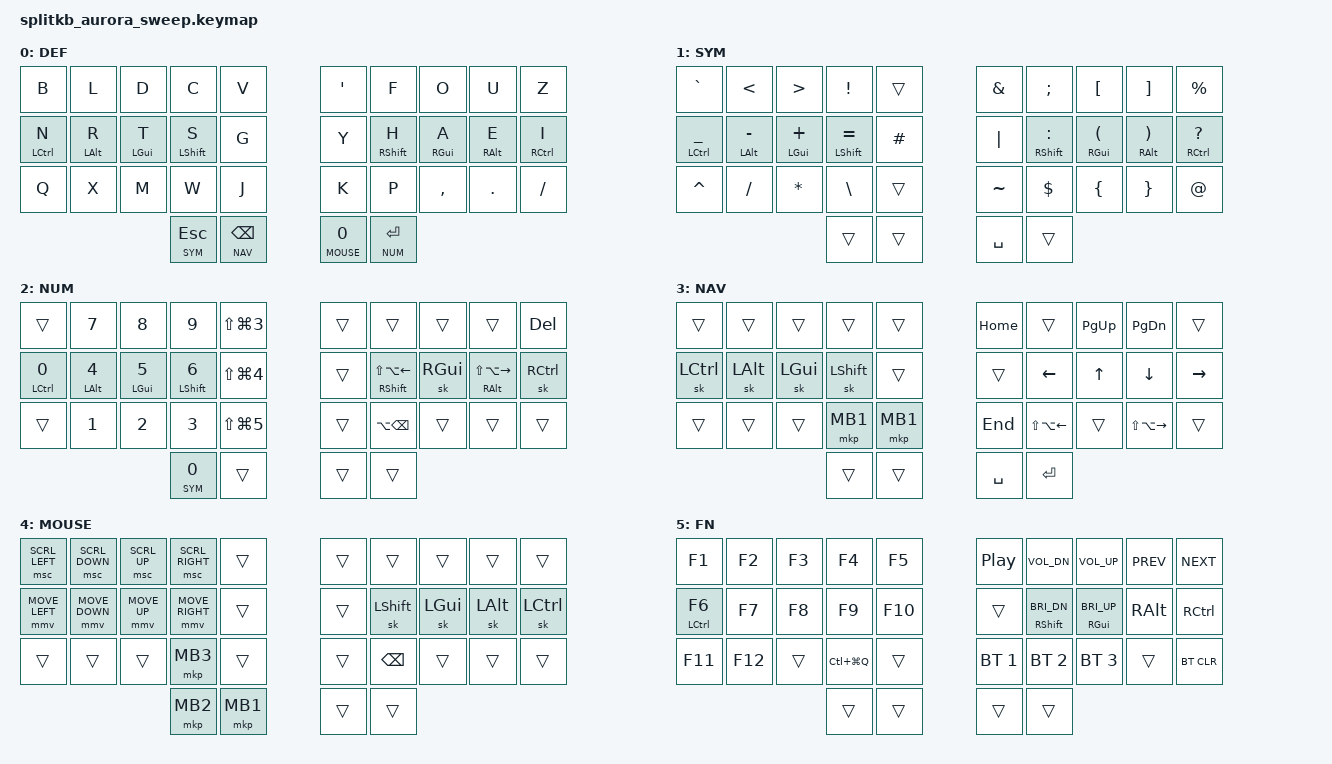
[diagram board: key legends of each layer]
#include <behaviors.dtsi>
#include <dt-bindings/zmk/keys.h>
#include <dt-bindings/zmk/bt.h>

#define DEF 0
#define SYM 1
#define NUM 2
#define NAV 3
#define MOUSE 4
#define FN 5

#define XXX &none
#define ___ &trans

/* Homerow mods */
#define KEYS_L LT0 LT1 LT2 LT3 LT4 LM0 LM1 LM2 LM3 LM4 LB0 LB1 LB2 LB3 LB4  // left hand
#define KEYS_R RT0 RT1 RT2 RT3 RT4 RM0 RM1 RM2 RM3 RM4 RB0 RB1 RB2 RB3 RB4  // right hand
#define THUMBS LH1 LH0 RH0 RH1

/* Global settings */

#define QUICK_TAP_MS 175

#define ZMK_MOUSE_DEFAULT_MOVE_VAL 1500  // 600
#define ZMK_MOUSE_DEFAULT_SCRL_VAL 20    // 10

#include <dt-bindings/zmk/mouse.h>
#include <behaviors/mouse_keys.dtsi>

&mmv {
  acceleration-exponent = <1>;      // 1
  time-to-max-speed-ms = <500>;    // 40
  delay-ms = <0>;                   // 0
};

&msc {
  acceleration-exponent = <1>;      // 0
  time-to-max-speed-ms = <40>;      // 500
  delay-ms = <0>;                   // 10
};

#define U_MS_U &mmv MOVE_UP
#define U_MS_D &mmv MOVE_DOWN
#define U_MS_L &mmv MOVE_LEFT
#define U_MS_R &mmv MOVE_RIGHT
#define U_WH_U &msc SCRL_UP
#define U_WH_D &msc SCRL_DOWN
#define U_WH_L &msc SCRL_LEFT
#define U_WH_R &msc SCRL_RIGHT

/*                KEY POSITIONS

  ╭─────────────────────╮ ╭─────────────────────╮
  │ LT4 LT3 LT2 LT1 LT0 │ │ RT0 RT1 RT2 RT3 RT4 │
  │ LM4 LM3 LM2 LM1 LM0 │ │ RM0 RM1 RM2 RM3 RM4 │
  │ LB4 LB3 LB2 LB1 LB0 │ │ RB0 RB1 RB2 RB3 RB4 │
  ╰───────────╮ LH1 LH0 │ │ RH0 RH1 ╭───────────╯
              ╰─────────╯ ╰─────────╯ */

#define COMBO_TERM_FAST 18
#define COMBO_TERM_SLOW 30

#define COMBO_IDLE_FAST 150
#define COMBO_IDLE_SLOW 50

// make homerow combos tap-only (so HRMs can be chorded instantaneously)
#define HRC_TAB    &hml         LA(LGUI) TAB
#define HRC_REPEAT &hml_repeat  LS(LGUI) 0

/* Horizontal combos - left hand */
// ZMK_COMBO(esc,   &kp ESC,       LT3 LT2, DEF NAV NUM ENGR, COMBO_TERM_FAST, COMBO_IDLE_FAST)
ZMK_COMBO(capsw, &caps_word,LT3 LT2 LT1, DEF NAV NUM, COMBO_TERM_FAST, COMBO_IDLE_FAST)

ZMK_COMBO(tab,   HRC_TAB,       LM3 LM2, DEF NAV NUM, COMBO_TERM_FAST, COMBO_IDLE_FAST)
// ZMK_COMBO(repeat,HRC_REPEAT,    LM2 LM1, DEF NAV NUM, COMBO_TERM_FAST, COMBO_IDLE_FAST)
ZMK_COMBO(click, &mkp MB1,      LM2 LM1, DEF NAV NUM, COMBO_TERM_FAST, COMBO_IDLE_FAST)
ZMK_COMBO(meh_left,&sk LS(LA(LG(LCTRL))),LM3 LM2 LM1, DEF NAV NUM, COMBO_TERM_FAST, COMBO_IDLE_FAST)

ZMK_COMBO(cut,   &kp LG(X),     LB3 LB1, DEF NAV NUM, COMBO_TERM_FAST, COMBO_IDLE_FAST)
ZMK_COMBO(copy,  &kp LG(C),     LB3 LB2, DEF NAV NUM, COMBO_TERM_FAST, COMBO_IDLE_FAST)
ZMK_COMBO(paste, &kp LG(V),     LB2 LB1, DEF NAV NUM, COMBO_TERM_FAST, COMBO_IDLE_FAST)

// ZMK_COMBO(del,   &kp DEL,       RT1 RT2, DEF NAV NUM ENGR, COMBO_TERM_FAST, COMBO_IDLE_FAST)
// MK_COMBO(bspc,  &kp BSPC,      RT2 RT3, DEF NAV NUM ENGR, COMBO_TERM_FAST, COMBO_IDLE_FAST)
// ZMK_COMBO(enter,&kp ENTER,      RM2 RM3, DEF         ENGR, COMBO_TERM_FAST, COMBO_IDLE_FAST)

/* Horizontal combos - right hand */
ZMK_COMBO(o_circ ,&o_circ,      RT1 RT2,            DEF, COMBO_TERM_FAST, COMBO_IDLE_FAST)
ZMK_COMBO(u_circ ,&u_circ,  RT2 RT3 RT4,            DEF, COMBO_TERM_FAST, COMBO_IDLE_FAST)
ZMK_COMBO(u_grave,&u_grave,     RT3 RT4,            DEF, COMBO_TERM_FAST, COMBO_IDLE_FAST)
ZMK_COMBO(e_grave,&e_grave,     RT2 RT3,            DEF, COMBO_TERM_FAST, COMBO_IDLE_FAST)
ZMK_COMBO(a_grave,&a_grave,     RM1 RM2,            DEF, COMBO_TERM_FAST, COMBO_IDLE_FAST)
ZMK_COMBO(e_aigu, &e_aigu,      RM2 RM3,            DEF, COMBO_TERM_FAST, COMBO_IDLE_FAST)
ZMK_COMBO(e_cir,  &e_circ,  RM1 RM2 RM3,            DEF, COMBO_TERM_FAST, COMBO_IDLE_FAST)
ZMK_COMBO(e_circ, &e_circ,  RT1 RT2 RT3,            DEF, COMBO_TERM_FAST, COMBO_IDLE_FAST)
ZMK_COMBO(i_circ, &i_circ,  RM2 RM3 RM4,            DEF, COMBO_TERM_FAST, COMBO_IDLE_FAST)

/* Vertical combos - right hand */
/// ZMK_COMBO(e_circ, &e_circ,      RT3 RM3,            DEF, COMBO_TERM_SLOW, COMBO_IDLE_FAST)
/// ZMK_COMBO(e_aigu, &e_aigu,      RT2 RM2,            DEF, COMBO_TERM_SLOW, COMBO_IDLE_FAST)
/// ZMK_COMBO(u_grave,&u_grave,     RT1 RM1,            DEF, COMBO_TERM_SLOW, COMBO_IDLE_FAST)
///
/// ZMK_COMBO(e_grave,&e_grave,     RM2 RB2,            DEF, COMBO_TERM_SLOW, COMBO_IDLE_FAST)
/// ZMK_COMBO(a_grave,&a_grave,     RM1 RB1,            DEF, COMBO_TERM_SLOW, COMBO_IDLE_FAST)

/* Vertical combos - left hand */
/// ZMK_COMBO(e_circ, &e_circ,      LT3 LM3,            DEF, COMBO_TERM_SLOW, COMBO_IDLE_FAST)
/// ZMK_COMBO(e_aigu, &e_aigu,      LT2 LM2,            DEF, COMBO_TERM_SLOW, COMBO_IDLE_FAST)
/// ZMK_COMBO(u_grave,&u_grave,     LT1 LM1,            DEF, COMBO_TERM_SLOW, COMBO_IDLE_FAST)
///
/// ZMK_COMBO(e_grave,&e_grave,     LM2 LB2,            DEF, COMBO_TERM_SLOW, COMBO_IDLE_FAST)
/// ZMK_COMBO(a_grave,&a_grave,     LM1 LB1,            DEL, COMBO_TERM_SLOW, COMBO_IDLE_FAST)

/* Horizontal combos - both hand */

ZMK_MACRO(e_aigu,
    wait-ms = <0>;
    tap-ms = <5>;
    bindings = <&kp RA(E) &kp E>;
)

ZMK_MACRO(e_grave,
    wait-ms = <0>;
    tap-ms = <5>;
    bindings = <&kp RA(GRAVE) &kp E>;
)

ZMK_MACRO(e_circ,
    wait-ms = <0>;
    tap-ms = <5>;
    bindings = <&kp RA(I) &kp E>;
)

ZMK_MACRO(a_grave,
    wait-ms = <0>;
    tap-ms = <5>;
    bindings = <&kp RA(GRAVE) &kp A>;
)

ZMK_MACRO(u_grave,
    wait-ms = <0>;
    tap-ms = <5>;
    bindings = <&kp RA(GRAVE) &kp U>;
)

ZMK_MACRO(o_circ,
    wait-ms = <0>;
    tap-ms = <5>;
    bindings = <&kp RA(I) &kp O>;
)

ZMK_MACRO(i_circ,
    wait-ms = <0>;
    tap-ms = <5>;
    bindings = <&kp RA(I) &kp I>;
)

ZMK_MACRO(u_circ,
    wait-ms = <0>;
    tap-ms = <5>;
    bindings = <&kp RA(I) &kp U>;
)


&sk {  // sticky-key config
    release-after-ms = <2000>;  // release after 0.6s
    quick-release;             // no double capitalization when rolling keys
};

&sl {  // sticky-layer config
    ignore-modifiers;          // allow chording sticky mods & layers
};

&lt {  // layer-tap config
    flavor = "balanced";
    tapping-term-ms = <200>;
    quick-tap-ms = <QUICK_TAP_MS>;
};

#define MAKE_HRM(NAME, HOLD, TAP, TRIGGER_POS) \
    ZMK_HOLD_TAP(NAME, \
        flavor = "balanced"; \
        tapping-term-ms = <280>; \
        quick-tap-ms = <QUICK_TAP_MS>; \
        require-prior-idle-ms = <130>; \
        bindings = <HOLD>, <TAP>; \
        hold-trigger-key-positions = <TRIGGER_POS>; \
        hold-trigger-on-release; \
    )
MAKE_HRM(hml, &kp, &kp, KEYS_R THUMBS)  // left-hand HRMs
MAKE_HRM(hmr, &kp, &kp, KEYS_L THUMBS)  // right-hand HRMs

MAKE_HRM(hml_repeat, &kp, &key_repeat, KEYS_R THUMBS)  // used for HRM-combo

#define MAKE_SHIFT_HRM(NAME, HOLD, TAP, TRIGGER_POS) \
    ZMK_HOLD_TAP(NAME, \
        flavor = "balanced"; \
        tapping-term-ms = <200>; \
        quick-tap-ms = <QUICK_TAP_MS>; \
        require-prior-idle-ms = <130>; \
        bindings = <HOLD>, <TAP>; \
        hold-trigger-key-positions = <TRIGGER_POS>; \
    )

MAKE_SHIFT_HRM(hmls, &kp, &kp, KEYS_R THUMBS)  // left-hand HRMs
MAKE_SHIFT_HRM(hmrs, &kp, &kp, KEYS_L THUMBS)  // right-hand HRMs

// reuse basic mod-morph scheme
#define SIMPLE_MORPH(NAME, MOD, BINDING1, BINDING2) \
    ZMK_MOD_MORPH(NAME, \
        mods = <(MOD_L ## MOD|MOD_R ## MOD)>; \
        bindings = <BINDING1>, <BINDING2>; \
    )

// tap: space | shift + tap: dot -> space -> sticky shift | hold: activate layer
ZMK_HOLD_TAP(lt_spc,
    flavor = "balanced";
    tapping-term-ms = <200>;
    quick-tap-ms = <QUICK_TAP_MS>;
    bindings = <&mo>, <&spc_morph>;
)
SIMPLE_MORPH(spc_morph, SFT, &kp SPACE, &dot_spc)
ZMK_MACRO(dot_spc,
    wait-ms = <0>;
    tap-ms = <5>;
    bindings = <&kp KP_DOT &kp SPACE &sk LSHFT>;
)

// tap: backspace | shift + tap: delete | hold: activate layer
ZMK_HOLD_TAP(lt_bspc,
    flavor = "balanced";
    tapping-term-ms = <200>;
    quick-tap-ms = <QUICK_TAP_MS>;
    bindings = <&mo>, <&bspc_morph>;
)
SIMPLE_MORPH(bspc_morph, CTL, &kp BSPC, &kp DEL)

/ {
    behaviors {
      hm: homerow_mods {
          compatible = "zmk,behavior-hold-tap";
          #binding-cells = <2>;
          flavor = "balanced";
          tapping-term-ms = <280>;
          quick-tap-ms = <175>;
          require-prior-idle-ms = <130>;
          bindings = <&kp>, <&kp>;
        };
    };

      conditional_layers {
        compatible = "zmk,conditional-layers";

        FN {
            if-layers = <SYM NUM>;
            then-layer = <FN>;
        };
    };

        keymap {
                compatible = "zmk,keymap";

        DEF {
          bindings = <
//      ╭─────────────┬─────────────┬─────────────┬─────────────┬─────────────╮ ╭─────────────┬─────────────┬─────────────┬─────────────┬─────────────╮
          &kp B         &kp L         &kp D         &kp C         &kp V           &kp SQT       &kp F         &kp O         &kp U         &kp Z 
//      ├─────────────┼─────────────┼─────────────┼─────────────┼─────────────┤ ├─────────────┼─────────────┼─────────────┼─────────────┼─────────────┤
          &hml LCTRL N  &hml LALT R   &hml LGUI T   &hmls LSHFT S &kp G           &kp Y         &hmrs RSHFT H &hmr RGUI A   &hmr RALT E   &hmr RCTRL I
//      ├─────────────┼─────────────┼─────────────┼─────────────┼─────────────┤ ├─────────────┼─────────────┼─────────────┼─────────────┼─────────────┤
          &kp Q         &kp X         &kp M         &kp W         &kp J           &kp K         &kp P         &kp COMMA     &kp DOT       &kp SLASH
//      ╰─────────────┼─────────────┴─────────────┼─────────────┼─────────────┤ ├─────────────┼─────────────┼─────────────┴───────────────────────────╯
                                                    &lt SYM ESC   &lt NAV BSPC    &lt_spc MOUSE 0 &lt NUM ENTER 
//                                                ╰─────────────┴─────────────╯ ╰─────────────┴─────────────╯
          >;
        };

        SYM {
          bindings = <
//      ╭─────────────┬─────────────┬─────────────┬─────────────┬─────────────╮ ╭─────────────┬─────────────┬─────────────┬─────────────┬─────────────╮
          &kp GRAVE     &kp LT        &kp GT        &kp EXCL      ___             &kp AMPS      &kp SEMI      &kp LBKT      &kp RBKT      &kp PERCENT
//      ├─────────────┼─────────────┼─────────────┼─────────────┼─────────────┤ ├─────────────┼─────────────┼─────────────┼─────────────┼─────────────┤
          &hm LCTRL UNDER &hm LALT MINUS &hm LGUI PLUS &hm LSHFT EQUAL &kp HASH   &kp PIPE      &hm RSHFT COLON &hm RGUI LPAR &hm RALT RPAR &hm RCTRL QMARK
//      ├─────────────┼─────────────┼─────────────┼─────────────┼─────────────┤ ├─────────────┼─────────────┼─────────────┼─────────────┼─────────────┤
          &kp CARET     &kp SLASH     &kp ASTRK     &kp BSLH      ___             &kp TILDE     &kp DOLLAR    &kp LBRC      &kp RBRC      &kp AT
//      ╰─────────────┼─────────────┴─────────────┼─────────────┼─────────────┤ ├─────────────┼─────────────┼─────────────┴───────────────────────────╯
                                                    ___           ___             &kp SPACE       ___ 
//                                                ╰─────────────┴─────────────╯ ╰─────────────┴─────────────╯
          >;
        };

        NUM {
          bindings = <
//      ╭─────────────┬─────────────┬─────────────┬─────────────┬─────────────╮ ╭─────────────┬─────────────┬─────────────┬─────────────┬─────────────╮
          ___           &kp N7        &kp N8        &kp N9        &kp LS(LG(N3))  ___           ___           ___           ___           &kp DEL 
//      ├─────────────┼─────────────┼─────────────┼─────────────┼─────────────┤ ├─────────────┼─────────────┼─────────────┼─────────────┼─────────────┤
          &hm LCTRL N0  &hm LALT N4   &hm LGUI N5   &hm LSHFT N6  &kp LS(LG(N4))  ___           &hm RSHFT LS(LA(LEFT)) &sk RGUI &hm RALT LS(LA(RIGHT)) &sk RCTRL
//      ├─────────────┼─────────────┼─────────────┼─────────────┼─────────────┤ ├─────────────┼─────────────┼─────────────┼─────────────┼─────────────┤
          ___           &kp N1        &kp N2        &kp N3        &kp LS(LG(N5))  ___           &kp LA(BSPC)  ___           ___           ___
//      ╰─────────────┼─────────────┴─────────────┼─────────────┼─────────────┤ ├─────────────┼─────────────┼─────────────┴───────────────────────────╯
                                                    &lt SYM N0    ___             ___           ___
//                                                ╰─────────────┴─────────────╯ ╰─────────────┴─────────────╯
          >;
        };

        NAV {
          bindings = <
//      ╭─────────────┬─────────────┬─────────────┬─────────────┬─────────────╮ ╭─────────────┬─────────────┬─────────────┬─────────────┬─────────────╮
          ___           ___           ___           ___           ___             &kp HOME      ___           &kp PAGE_UP   &kp PAGE_DOWN ___
//      ├─────────────┼─────────────┼─────────────┼─────────────┼─────────────┤ ├─────────────┼─────────────┼─────────────┼─────────────┼─────────────┤
          &sk LCTRL     &sk LALT      &sk LGUI      &sk LSHIFT    ___             ___           &kp LEFT      &kp UP        &kp DOWN      &kp RIGHT
//      ├─────────────┼─────────────┼─────────────┼─────────────┼─────────────┤ ├─────────────┼─────────────┼─────────────┼─────────────┼─────────────┤
          ___           ___           ___           &mkp MB1      &mkp MB1        &kp END       &kp LS(LA(LEFT)) ___        &kp LS(LA(RIGHT)) ___
//      ╰─────────────┼─────────────┴─────────────┼─────────────┼─────────────┤ ├─────────────┼─────────────┼─────────────┴───────────────────────────╯
                                                    ___           ___             &kp SPACE       &kp ENTER
//                                                ╰─────────────┴─────────────╯ ╰─────────────┴─────────────╯
          >;
        };

        MOUSE {
          bindings = <
//      ╭─────────────┬─────────────┬─────────────┬─────────────┬─────────────╮ ╭─────────────┬─────────────┬─────────────┬─────────────┬─────────────╮
          U_WH_L        U_WH_D        U_WH_U        U_WH_R        ___             ___           ___           ___           ___           ___ 
//      ├─────────────┼─────────────┼─────────────┼─────────────┼─────────────┤ ├─────────────┼─────────────┼─────────────┼─────────────┼─────────────┤
          U_MS_L        U_MS_D        U_MS_U        U_MS_R        ___             ___           &sk LSHIFT    &sk LGUI      &sk LALT      &sk LCTRL
//      ├─────────────┼─────────────┼─────────────┼─────────────┼─────────────┤ ├─────────────┼─────────────┼─────────────┼─────────────┼─────────────┤
          ___           ___           ___           &mkp MB3      ___             ___           &kp BSPC      ___           ___           ___
//      ╰─────────────┼─────────────┴─────────────┼─────────────┼─────────────┤ ├─────────────┼─────────────┼─────────────┴───────────────────────────╯
                                                    &mkp MB2      &mkp MB1        ___           ___
//                                                ╰─────────────┴─────────────╯ ╰─────────────┴─────────────╯
          >;
        };

        FN {
          bindings = <
//      ╭─────────────┬─────────────┬─────────────┬─────────────┬─────────────╮ ╭─────────────┬─────────────┬─────────────┬─────────────┬─────────────╮
          &kp F1        &kp F2        &kp F3        &kp F4        &kp F5          &kp C_PP      &kp C_VOL_DN  &kp C_VOL_UP  &kp C_PREV    &kp C_NEXT
//      ├─────────────┼─────────────┼─────────────┼─────────────┼─────────────┤ ├─────────────┼─────────────┼─────────────┼─────────────┼─────────────┤
          &hm LCTRL F6  &kp F7        &kp F8        &kp F9        &kp F10         ___           &hm RSHIFT C_BRI_DN  &hm RGUI C_BRI_UP &kp RALT &kp RCTRL
//      ├─────────────┼─────────────┼─────────────┼─────────────┼─────────────┤ ├─────────────┼─────────────┼─────────────┼─────────────┼─────────────┤
          &kp F11       &kp F12       ___           &kp LC(LG(Q)) ___             &bt BT_SEL 1  &bt BT_SEL 2  &bt BT_SEL 3  ___           &bt BT_CLR
//      ╰─────────────┼─────────────┴─────────────┼─────────────┼─────────────┤ ├─────────────┼─────────────┼─────────────┴───────────────────────────╯
                                                    ___           ___             ___           ___
//                                                ╰─────────────┴─────────────╯ ╰─────────────┴─────────────╯
          >;
        };
    };
};
